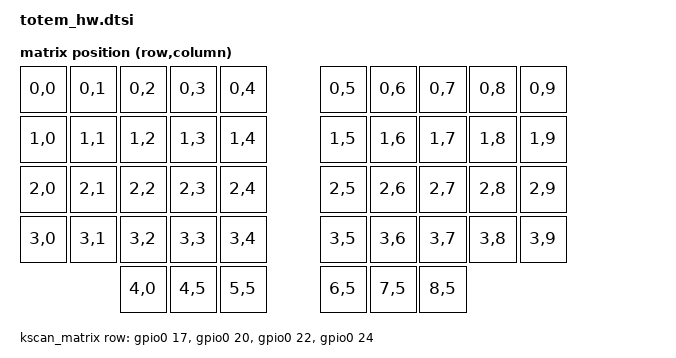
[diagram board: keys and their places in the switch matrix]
#include <dt-bindings/zmk/matrix_transform.h>

/ {
    chosen {
        zmk,kscan = &kscan0;
        zmk,matrix-transform = &default_transform;
    };

    left_encoder: encoder_left {
        compatible = "alps,ec11";
        steps = <24>;
        status = "disabled";
    };

    sensors: sensors {
        compatible = "zmk,keymap-sensors";
        sensors = <&left_encoder>;
        triggers-per-rotation = <24>;
    };

    kscan_matrix: kscan_matrix {
        compatible = "zmk,kscan-gpio-matrix";
        wakeup-source;
        diode-direction = "col2row";
        row-gpios
            = <&gpio0 17 (GPIO_ACTIVE_HIGH | GPIO_PULL_DOWN)>
            , <&gpio0 20 (GPIO_ACTIVE_HIGH | GPIO_PULL_DOWN)>
            , <&gpio0 22 (GPIO_ACTIVE_HIGH | GPIO_PULL_DOWN)>
            , <&gpio0 24 (GPIO_ACTIVE_HIGH | GPIO_PULL_DOWN)>;
    };

    kscan_direct: kscan_direct {
        compatible = "zmk,kscan-gpio-direct";
        wakeup-source;
    };

    kscan0: kscan_composite {
        compatible = "zmk,kscan-composite";
        rows = <9>;  // SỬA Ở ĐÂY: Tăng lên 9 hàng để chứa đủ 5 nút công tắc
        columns = <5>;
        matrix {
            kscan = <&kscan_matrix>;
        };
        direct {
            kscan = <&kscan_direct>;
            row-offset = <4>;
        };
    };

    default_transform: keymap_transform_0 {
        compatible = "zmk,matrix-transform";
        columns = <10>;
        rows = <9>;  // SỬA Ở ĐÂY: Tăng lên 9 hàng
        map = <
            RC(0,0) RC(0,1) RC(0,2) RC(0,3) RC(0,4)    RC(0,5) RC(0,6) RC(0,7) RC(0,8) RC(0,9)
            RC(1,0) RC(1,1) RC(1,2) RC(1,3) RC(1,4)    RC(1,5) RC(1,6) RC(1,7) RC(1,8) RC(1,9)
            RC(2,0) RC(2,1) RC(2,2) RC(2,3) RC(2,4)    RC(2,5) RC(2,6) RC(2,7) RC(2,8) RC(2,9)
            RC(3,0) RC(3,1) RC(3,2) RC(3,3) RC(3,4)    RC(3,5) RC(3,6) RC(3,7) RC(3,8) RC(3,9)
            
            // SỬA Ở ĐÂY: Sắp xếp lại tọa độ bên phải thành 1 cột dọc (RC4,5 -> RC8,5)
            RC(4,0)                                    RC(4,5) RC(5,5) RC(6,5) RC(7,5) RC(8,5)
        >;
    };
};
